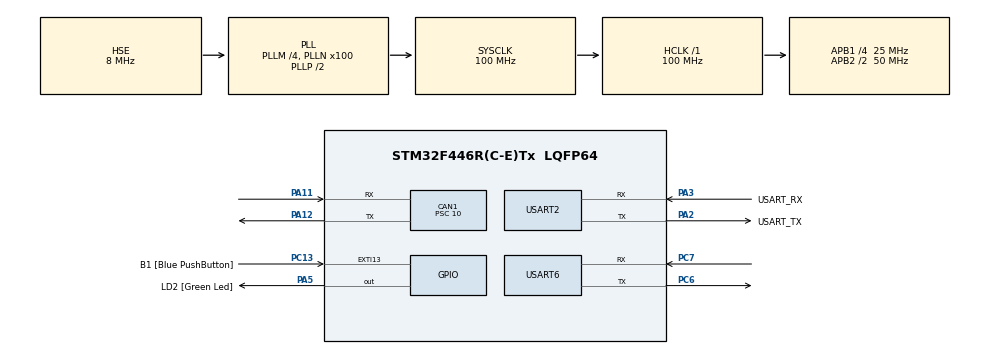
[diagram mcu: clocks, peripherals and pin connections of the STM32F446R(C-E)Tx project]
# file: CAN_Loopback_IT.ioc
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CAN1.BS1=CAN_BS1_15TQ
CAN1.BS2=CAN_BS2_4TQ
CAN1.CalculateBaudRate=125000
CAN1.CalculateTimeBit=8000
CAN1.CalculateTimeQuantum=400.0
CAN1.Mode=CAN_MODE_LOOPBACK
CAN1.NART=ENABLE
CAN1.Prescaler=10
CAN1.SJW=CAN_SJW_1TQ
Mcu.Family=STM32F4
Mcu.Name=STM32F446R(C-E)Tx
Mcu.Package=LQFP64
NVIC.CAN1_RX0_IRQn=true\:15\:0\:true\:false\:true\:true\:true
NVIC.CAN1_RX1_IRQn=true\:15\:0\:true\:false\:true\:true\:true
NVIC.CAN1_SCE_IRQn=true\:15\:0\:true\:false\:true\:true\:true
NVIC.CAN1_TX_IRQn=true\:15\:0\:true\:false\:true\:true\:true
NVIC.PriorityGroup=NVIC_PRIORITYGROUP_4
PA11.Mode=CAN_Activate
PA11.Signal=CAN1_RX
PA12.Mode=CAN_Activate
PA12.Signal=CAN1_TX
PA13.GPIO_Label=TMS
PA13.Mode=Serial_Wire
PA13.Signal=SYS_JTMS-SWDIO
PA14.GPIO_Label=TCK
PA14.Mode=Serial_Wire
PA14.Signal=SYS_JTCK-SWCLK
PA2.GPIO_Label=USART_TX
PA2.Mode=Asynchronous
PA2.Signal=USART2_TX
PA3.GPIO_Label=USART_RX
PA3.Mode=Asynchronous
PA3.Signal=USART2_RX
PA5.GPIO_Label=LD2 [Green Led]
PA5.Signal=GPIO_Output
PB3.GPIO_Label=SWO
PB3.Signal=SYS_JTDO-SWO
PC13.GPIO_Label=B1 [Blue PushButton]
PC13.GPIO_ModeDefaultEXTI=GPIO_MODE_IT_FALLING
PC13.Signal=GPXTI13
PC14-OSC32_IN.Mode=LSE-External-Oscillator
PC14-OSC32_IN.Signal=RCC_OSC32_IN
PC15-OSC32_OUT.Mode=LSE-External-Oscillator
PC15-OSC32_OUT.Signal=RCC_OSC32_OUT
PC6.Mode=Asynchronous
PC6.Signal=USART6_TX
PC7.Mode=Asynchronous
PC7.Signal=USART6_RX
PH0-OSC_IN.Mode=HSE-External-Clock-Source
PH0-OSC_IN.Signal=RCC_OSC_IN
PH1-OSC_OUT.Mode=HSE-External-Clock-Source
PH1-OSC_OUT.Signal=RCC_OSC_OUT
ProjectManager.HeapSize=0x200
ProjectManager.StackSize=0x400
ProjectManager.TargetToolchain=STM32CubeIDE
RCC.48MHZClocksFreq_Value=84000000
RCC.AHBFreq_Value=100000000
RCC.APB1CLKDivider=RCC_HCLK_DIV4
RCC.APB1Freq_Value=25000000
RCC.APB1TimFreq_Value=50000000
RCC.APB2CLKDivider=RCC_HCLK_DIV2
RCC.APB2Freq_Value=50000000
RCC.APB2TimFreq_Value=100000000
RCC.CortexFreq_Value=100000000
RCC.FLatency-AdvancedSettings=FLASH_LATENCY_3
RCC.HCLKFreq_Value=100000000
RCC.HSE_VALUE=8000000
RCC.HSI_VALUE=16000000
RCC.PLLM=4
RCC.PLLN=100
RCC.PLLSourceVirtual=RCC_PLLSOURCE_HSE
RCC.SYSCLKFreq_VALUE=100000000
RCC.SYSCLKSource=RCC_SYSCLKSOURCE_PLLCLK
RCC.USBFreq_Value=100000000
RCC.VCOOutputFreq_Value=200000000
USART2.VirtualMode=VM_ASYNC
USART6.VirtualMode=VM_ASYNC
board=NUCLEO-F446RE

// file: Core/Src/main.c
/* USER CODE BEGIN Header */
/**
  ******************************************************************************
  * @file           : main.c
  * @brief          : Main program body
  ******************************************************************************
  * @attention
  *
  * Copyright (c) 2022 STMicroelectronics.
  * All rights reserved.
  *
  * This software is licensed under terms that can be found in the LICENSE file
  * in the root directory of this software component.
  * If no LICENSE file comes with this software, it is provided AS-IS.
  *
  ******************************************************************************
  */
/* USER CODE END Header */
#include "main.h"

/* USER CODE BEGIN Includes */
#include <stdio.h>
#include <string.h>
/* USER CODE END Includes */

CAN_HandleTypeDef hcan1;

UART_HandleTypeDef huart2;
UART_HandleTypeDef huart6;

/* USER CODE BEGIN PV */
CAN_TxHeaderTypeDef CANTXHeader;
CAN_RxHeaderTypeDef CANRXHeader;
CAN_FilterTypeDef CANFilterInit;
/* USER CODE END PV */

void SystemClock_Config(void);
static void MX_GPIO_Init(void);
static void MX_USART2_UART_Init(void);
static void MX_CAN1_Init(void);
static void MX_USART6_UART_Init(void);
/* USER CODE BEGIN PFP */
void CAN1_TX(void);
void CAN1_RX(void);
void CAN1_filterConfig(void);
/* USER CODE END PFP */

int main(void)
{

  /* MCU Configuration--------------------------------------------------------*/

  /* Reset of all peripherals, Initializes the Flash interface and the Systick. */
  HAL_Init();

  /* Configure the system clock */
  SystemClock_Config();

  /* Initialize all configured peripherals */
  MX_GPIO_Init();
  MX_USART2_UART_Init();
  MX_CAN1_Init();
  MX_USART6_UART_Init();
  /* USER CODE BEGIN 2 */
  // Filter configuration
  CAN1_filterConfig();

  // Enable interrupts.
  if(HAL_CAN_ActivateNotification(&hcan1, CAN_IT_TX_MAILBOX_EMPTY | CAN_IT_RX_FIFO0_MSG_PENDING | CAN_IT_BUSOFF))
  {
	  Error_Handler();
  }

  // This API move can from initialization mode to normal mode.
  if(HAL_CAN_Start(&hcan1))
  {
	  Error_Handler();
  }

  // Call function to request transmission.
//  CAN1_TX();
//
//  HAL_Delay(100);
//
//  CAN1_RX();
  /* USER CODE END 2 */

  /* Infinite loop */
  /* USER CODE BEGIN WHILE */
  while (1)
  {
	  CAN1_TX();
	  HAL_Delay(500);
	  HAL_GPIO_TogglePin(LD2_GPIO_Port, LD2_Pin);
    /* USER CODE END WHILE */

  }
}

void SystemClock_Config(void)
{
  RCC_OscInitTypeDef RCC_OscInitStruct = {0};
  RCC_ClkInitTypeDef RCC_ClkInitStruct = {0};

  /** Configure the main internal regulator output voltage
  */
  __HAL_RCC_PWR_CLK_ENABLE();
  __HAL_PWR_VOLTAGESCALING_CONFIG(PWR_REGULATOR_VOLTAGE_SCALE3);
  /** Initializes the RCC Oscillators according to the specified parameters
  * in the RCC_OscInitTypeDef structure.
  */
  RCC_OscInitStruct.OscillatorType = RCC_OSCILLATORTYPE_HSE;
  RCC_OscInitStruct.HSEState = RCC_HSE_BYPASS;
  RCC_OscInitStruct.PLL.PLLState = RCC_PLL_ON;
  RCC_OscInitStruct.PLL.PLLSource = RCC_PLLSOURCE_HSE;
  RCC_OscInitStruct.PLL.PLLM = 4;
  RCC_OscInitStruct.PLL.PLLN = 100;
  RCC_OscInitStruct.PLL.PLLP = RCC_PLLP_DIV2;
  RCC_OscInitStruct.PLL.PLLQ = 2;
  RCC_OscInitStruct.PLL.PLLR = 2;
  if (HAL_RCC_OscConfig(&RCC_OscInitStruct) != HAL_OK)
  {
    Error_Handler();
  }
  /** Initializes the CPU, AHB and APB buses clocks
  */
  RCC_ClkInitStruct.ClockType = RCC_CLOCKTYPE_HCLK|RCC_CLOCKTYPE_SYSCLK
                              |RCC_CLOCKTYPE_PCLK1|RCC_CLOCKTYPE_PCLK2;
  RCC_ClkInitStruct.SYSCLKSource = RCC_SYSCLKSOURCE_PLLCLK;
  RCC_ClkInitStruct.AHBCLKDivider = RCC_SYSCLK_DIV1;
  RCC_ClkInitStruct.APB1CLKDivider = RCC_HCLK_DIV4;
  RCC_ClkInitStruct.APB2CLKDivider = RCC_HCLK_DIV2;

  if (HAL_RCC_ClockConfig(&RCC_ClkInitStruct, FLASH_LATENCY_3) != HAL_OK)
  {
    Error_Handler();
  }
}

static void MX_CAN1_Init(void)
{

  hcan1.Instance = CAN1;
  hcan1.Init.Prescaler = 10;
  hcan1.Init.Mode = CAN_MODE_LOOPBACK;
  hcan1.Init.SyncJumpWidth = CAN_SJW_1TQ;
  hcan1.Init.TimeSeg1 = CAN_BS1_15TQ;
  hcan1.Init.TimeSeg2 = CAN_BS2_4TQ;
  hcan1.Init.TimeTriggeredMode = DISABLE;
  hcan1.Init.AutoBusOff = DISABLE;
  hcan1.Init.AutoWakeUp = DISABLE;
  hcan1.Init.AutoRetransmission = ENABLE;
  hcan1.Init.ReceiveFifoLocked = DISABLE;
  hcan1.Init.TransmitFifoPriority = DISABLE;
  if (HAL_CAN_Init(&hcan1) != HAL_OK)
  {
    Error_Handler();
  }

}

static void MX_USART2_UART_Init(void)
{

  huart2.Instance = USART2;
  huart2.Init.BaudRate = 115200;
  huart2.Init.WordLength = UART_WORDLENGTH_8B;
  huart2.Init.StopBits = UART_STOPBITS_1;
  huart2.Init.Parity = UART_PARITY_NONE;
  huart2.Init.Mode = UART_MODE_TX_RX;
  huart2.Init.HwFlowCtl = UART_HWCONTROL_NONE;
  huart2.Init.OverSampling = UART_OVERSAMPLING_16;
  if (HAL_UART_Init(&huart2) != HAL_OK)
  {
    Error_Handler();
  }

}

static void MX_USART6_UART_Init(void)
{

  huart6.Instance = USART6;
  huart6.Init.BaudRate = 115200;
  huart6.Init.WordLength = UART_WORDLENGTH_8B;
  huart6.Init.StopBits = UART_STOPBITS_1;
  huart6.Init.Parity = UART_PARITY_NONE;
  huart6.Init.Mode = UART_MODE_TX_RX;
  huart6.Init.HwFlowCtl = UART_HWCONTROL_NONE;
  huart6.Init.OverSampling = UART_OVERSAMPLING_16;
  if (HAL_UART_Init(&huart6) != HAL_OK)
  {
    Error_Handler();
  }

}

static void MX_GPIO_Init(void)
{
  GPIO_InitTypeDef GPIO_InitStruct = {0};

  /* GPIO Ports Clock Enable */
  __HAL_RCC_GPIOC_CLK_ENABLE();
  __HAL_RCC_GPIOH_CLK_ENABLE();
  __HAL_RCC_GPIOA_CLK_ENABLE();
  __HAL_RCC_GPIOB_CLK_ENABLE();

  /*Configure GPIO pin Output Level */
  HAL_GPIO_WritePin(LD2_GPIO_Port, LD2_Pin, GPIO_PIN_RESET);

  /*Configure GPIO pin : B1_Pin */
  GPIO_InitStruct.Pin = B1_Pin;
  GPIO_InitStruct.Mode = GPIO_MODE_IT_FALLING;
  GPIO_InitStruct.Pull = GPIO_NOPULL;
  HAL_GPIO_Init(B1_GPIO_Port, &GPIO_InitStruct);

  /*Configure GPIO pin : LD2_Pin */
  GPIO_InitStruct.Pin = LD2_Pin;
  GPIO_InitStruct.Mode = GPIO_MODE_OUTPUT_PP;
  GPIO_InitStruct.Pull = GPIO_NOPULL;
  GPIO_InitStruct.Speed = GPIO_SPEED_FREQ_LOW;
  HAL_GPIO_Init(LD2_GPIO_Port, &GPIO_InitStruct);

}

/* USER CODE BEGIN 4 */
void CAN1_TX(void)
{
	uint8_t msg[5] = {'H','e','l','l','o'};
//	char msgToTerminal[100];

	// Mailbox
	uint32_t TXMailbox;

	// Init the header structure.
	CANTXHeader.DLC = 5;
	CANTXHeader.StdId = 0x65D;
	CANTXHeader.IDE = CAN_ID_STD;
	CANTXHeader.RTR = CAN_RTR_DATA;

	// Add message to the mailbox.
	if(HAL_CAN_AddTxMessage(&hcan1, &CANTXHeader, msg, &TXMailbox))
	{
		Error_Handler();
	}

}

void CAN1_RX(void)
{
	uint8_t RXBuffer[10];
	char msgToTerminal[100];

	// Check if the FIFO has data to read and waits until data is present.
	// The API returns the number of messgaes present in the FIFO.
	while(!HAL_CAN_GetRxFifoFillLevel(&hcan1, CAN_RX_FIFO0));

	if(HAL_CAN_GetRxMessage(&hcan1, CAN_RX_FIFO0, &CANRXHeader, RXBuffer))
	{
		Error_Handler();
	}

	// Print msg to terminal to know successful transmission.
	sprintf(msgToTerminal, "CAN message received: %s\r\n", RXBuffer);
	HAL_UART_Transmit(&huart2, (uint8_t*)msgToTerminal, strlen(msgToTerminal), 2000);
}

void CAN1_filterConfig(void)
{
	CANFilterInit.FilterActivation = ENABLE;
	CANFilterInit.FilterBank = 0;
	CANFilterInit.FilterFIFOAssignment = CAN_RX_FIFO0;
	CANFilterInit.FilterIdHigh = 0;
	CANFilterInit.FilterIdLow = 0;
	CANFilterInit.FilterMaskIdHigh = 0;
	CANFilterInit.FilterMaskIdLow = 0;
	CANFilterInit.FilterMode = CAN_FILTERMODE_IDMASK;
	CANFilterInit.FilterScale = CAN_FILTERSCALE_32BIT;
	CANFilterInit.SlaveStartFilterBank = 14;

	if(HAL_CAN_ConfigFilter(&hcan1, &CANFilterInit))
	{
		Error_Handler();
	}
}

void HAL_CAN_TxMailbox0CompleteCallback(CAN_HandleTypeDef *hcan)
{
  /* Prevent unused argument(s) compilation warning */
  UNUSED(hcan);

  /* NOTE : This function Should not be modified, when the callback is needed,
            the HAL_CAN_TxMailbox0CompleteCallback could be implemented in the
            user file
   */
  char msgToTerminal[100];

  sprintf(msgToTerminal, "Message transmitted from mailbox 0 \r\n");
  HAL_UART_Transmit(&huart2, (uint8_t*)msgToTerminal, strlen(msgToTerminal), 2000);

}

void HAL_CAN_TxMailbox1CompleteCallback(CAN_HandleTypeDef *hcan)
{
  /* Prevent unused argument(s) compilation warning */
  UNUSED(hcan);

  /* NOTE : This function Should not be modified, when the callback is needed,
            the HAL_CAN_TxMailbox0CompleteCallback could be implemented in the
            user file
   */
  char msgToTerminal[100];

  sprintf(msgToTerminal, "Message transmitted from mailbox 1 \r\n");
  HAL_UART_Transmit(&huart2, (uint8_t*)msgToTerminal, strlen(msgToTerminal), 2000);

}

void HAL_CAN_TxMailbox2CompleteCallback(CAN_HandleTypeDef *hcan)
{
  /* Prevent unused argument(s) compilation warning */
  UNUSED(hcan);

  /* NOTE : This function Should not be modified, when the callback is needed,
            the HAL_CAN_TxMailbox0CompleteCallback could be implemented in the
            user file
   */
  char msgToTerminal[100];

  sprintf(msgToTerminal, "Message transmitted from mailbox 2 \r\n");
  HAL_UART_Transmit(&huart2, (uint8_t*)msgToTerminal, strlen(msgToTerminal), 2000);

}

void HAL_CAN_RxFifo0MsgPendingCallback(CAN_HandleTypeDef *hcan)
{
  /* Prevent unused argument(s) compilation warning */
  UNUSED(hcan);

  /* NOTE : This function Should not be modified, when the callback is needed,
            the HAL_CAN_RxFifo0MsgPendingCallback could be implemented in the
            user file
   */
  uint8_t RXBuffer[10];
  	char msgToTerminal[100];

  	if(HAL_CAN_GetRxMessage(&hcan1, CAN_RX_FIFO0, &CANRXHeader, RXBuffer))
  	{
  		Error_Handler();
  	}

  	// Print msg to terminal to know successful transmission.
  	sprintf(msgToTerminal, "CAN message received: %s\r\n", RXBuffer);
  	HAL_UART_Transmit(&huart2, (uint8_t*)msgToTerminal, strlen(msgToTerminal), 2000);
}

void HAL_CAN_ErrorCallback(CAN_HandleTypeDef *hcan)
{
  /* Prevent unused argument(s) compilation warning */
  UNUSED(hcan);

  /* NOTE : This function Should not be modified, when the callback is needed,
            the HAL_CAN_ErrorCallback could be implemented in the user file
   */
  char msgToTerminal[50];

  sprintf(msgToTerminal, "CAN error detected.\r\n");
  HAL_UART_Transmit(&huart2, (uint8_t*)msgToTerminal, strlen(msgToTerminal), 2000);
}
/* USER CODE END 4 */

void Error_Handler(void)
{
  __disable_irq();
  while (1)
  {
  }
}
